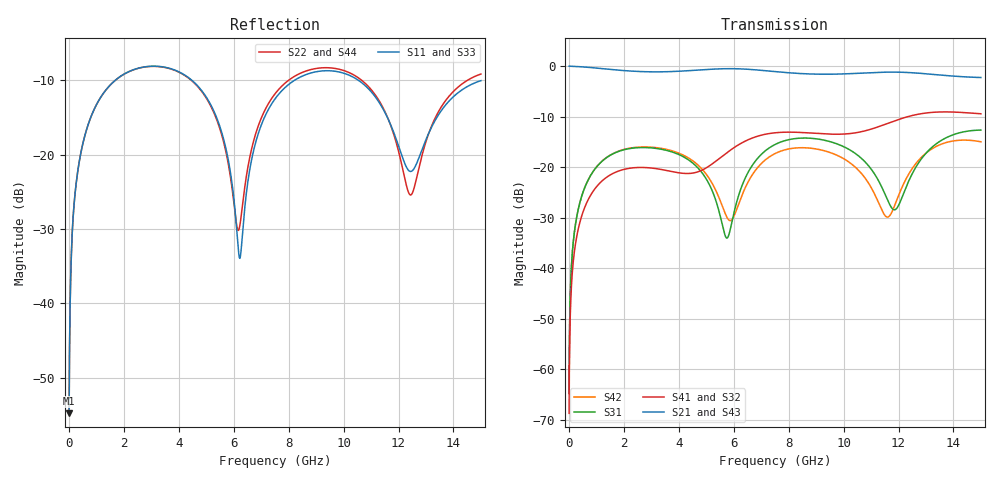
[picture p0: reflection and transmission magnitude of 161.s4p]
! Created with skrf 1.8.0 (http://scikit-rf.org).
# GHz S RI R 50.0
!freq ReS11 ImS11 ReS12 ImS12 ReS13 ImS13
! ReS14 ImS14
! ReS21 ImS21 ReS22 ImS22 ReS23 ImS23
! ReS24 ImS24
! ReS31 ImS31 ReS32 ImS32 ReS33 ImS33
! ReS34 ImS34
! ReS41 ImS41 ReS42 ImS42 ReS43 ImS43
! ReS44 ImS44
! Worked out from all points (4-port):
!   2499 points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, 5 MHz to 15 GHz, reference 50 ohm
!   strongest paths, dB at 5 MHz, 3.476 GHz, 7.19 GHz, 11.1 GHz, 15 GHz:
!     S21: 0.0, -1.1, -0.9, -1.3, -2.3
!     S43: 0.0, -1.1, -0.9, -1.3, -2.2
!     S41: -68.7, -20.6, -13.4, -12.3, -9.4
!     S32: -68.7, -20.6, -13.5, -12.3, -9.4
!     S31: -64.8, -16.6, -16.6, -21.1, -12.7
!     S42: -64.8, -16.4, -18.4, -25.0, -15.0
!   lowest |S11| = -54.8 dB at 5 MHz (marker M1), VSWR 1.00, Z = 50.1 + j0.111 ohm
!   |S11| at or under -10 dB: start of sweep to 1.683 GHz; 4.477 GHz to 8.211 GHz (3.734 GHz wide, 58.9 % of centre); 10.54 GHz to end of sweep
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0.005  0.00145 0.0011  0.9985 -0.00282  7.21e-05 0.000573  -7.01e-05 -0.000359
       0.9985 -0.00282  0.00145 0.0011  -7.01e-05 -0.000359  7.22e-05 0.000573
       7.21e-05 0.000573  -7.01e-05 -0.000359  0.00145 0.0011  0.9985 -0.00282
       -7.01e-05 -0.000359  7.22e-05 0.000573  0.9985 -0.00282  0.00145 0.0011
0.3126303  0.0195 0.0732  0.9734 -0.1764  0.00867 0.0345  -0.0073 -0.0215
           0.9734 -0.1764  0.0195 0.0732  -0.0073 -0.0215  0.00883 0.0344
           0.00867 0.0345  -0.0073 -0.0215  0.0195 0.0732  0.9734 -0.1764
           -0.0073 -0.0215  0.00883 0.0344  0.9734 -0.1764  0.0195 0.0732
1.569404  0.2365 0.1888  0.6196 -0.6853  0.1135 0.0713  -0.0839 -0.0174
          0.6196 -0.6853  0.2359 0.1891  -0.0839 -0.0174  0.1161 0.0684
          0.1135 0.0713  -0.0839 -0.0174  0.2366 0.1889  0.6196 -0.6853
          -0.0839 -0.0174  0.1161 0.0684  0.6196 -0.6853  0.2359 0.1891
6.021259  0.0231 -0.0411  -0.93 -0.1516  0.0248 0.0269  -0.0217 0.1552
          -0.93 -0.1516  0.0326 -0.0307  -0.0214 0.1552  -0.0284 0.0174
          0.0248 0.0269  -0.0214 0.1552  0.0248 -0.042  -0.9299 -0.152
          -0.0217 0.1552  -0.0284 0.0174  -0.9299 -0.152  0.0312 -0.0319
9.64777  0.3639 -0.0239  0.0192 0.8319  0.1272 -0.1189  0.2019 -0.0637
         0.0192 0.8319  0.3774 -0.0545  0.2013 -0.0631  0.1212 -0.0595
         0.1272 -0.1189  0.2013 -0.0631  0.3624 -0.028  0.0196 0.8326
         0.2019 -0.0637  0.1212 -0.0595  0.0196 0.8326  0.3759 -0.0507
12.43643  0.077 -0.00427  0.8526 0.1231  0.00367 0.0793  0.0373 -0.319
          0.8526 0.1231  0.0533 -0.00465  0.0381 -0.3192  -0.00927 0.0907
          0.00367 0.0793  0.0381 -0.3192  0.0732 -0.00583  0.8528 0.1227
          0.0373 -0.319  -0.00927 0.0907  0.8528 0.1227  0.0568 -0.00499
15  0.3061 0.0722  0.355 -0.6844  0.2157 -0.0875  -0.3263 -0.0857
    0.355 -0.6844  0.3411 0.0717  -0.3262 -0.0856  0.1774 -0.0163
    0.2157 -0.0875  -0.3262 -0.0856  0.3001 0.0702  0.3554 -0.6868
    -0.3263 -0.0857  0.1774 -0.0163  0.3554 -0.6868  0.336 0.0686
